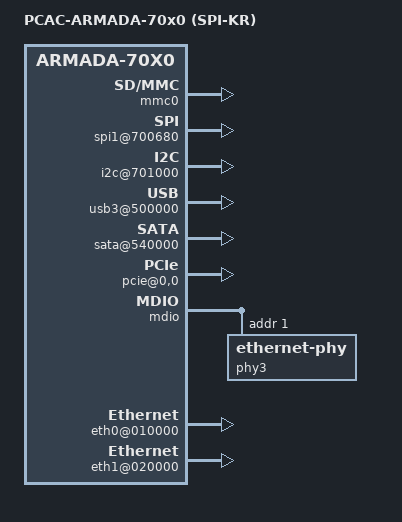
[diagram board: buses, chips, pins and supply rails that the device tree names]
/*
* ***************************************************************************
* Copyright (C) 2016 Marvell International Ltd.
* ***************************************************************************
*
* Redistribution and use in source and binary forms, with or without
* modification, are permitted provided that the following conditions are met:
*
* Redistributions of source code must retain the above copyright notice, this
* list of conditions and the following disclaimer.
*
* Redistributions in binary form must reproduce the above copyright notice,
* this list of conditions and the following disclaimer in the documentation
* and/or other materials provided with the distribution.
*
* Neither the name of Marvell nor the names of its contributors may be used
* to endorse or promote products derived from this software without specific
* prior written permission.
*
* THIS SOFTWARE IS PROVIDED BY THE COPYRIGHT HOLDERS AND CONTRIBUTORS "AS IS"
* AND ANY EXPRESS OR IMPLIED WARRANTIES, INCLUDING, BUT NOT LIMITED TO, THE
* IMPLIED WARRANTIES OF MERCHANTABILITY AND FITNESS FOR A PARTICULAR PURPOSE
* ARE DISCLAIMED. IN NO EVENT SHALL THE COPYRIGHT HOLDER OR CONTRIBUTORS BE
* LIABLE FOR ANY DIRECT, INDIRECT, INCIDENTAL, SPECIAL, EXEMPLARY,
* OR CONSEQUENTIAL DAMAGES (INCLUDING, BUT NOT LIMITED TO, PROCUREMENT OF
* SUBSTITUTE GOODS OR SERVICES; LOSS OF USE, DATA, OR PROFITS; OR BUSINESS
* INTERRUPTION) HOWEVER CAUSED AND ON ANY THEORY OF LIABILITY, WHETHER IN
* CONTRACT, STRICT LIABILITY, OR TORT (INCLUDING NEGLIGENCE OR OTHERWISE)
* ARISING IN ANY WAY OUT OF THE USE OF THIS SOFTWARE, EVEN IF ADVISED OF THE
* POSSIBILITY OF SUCH DAMAGE.
*
***************************************************************************
*/

/dts-v1/;

#include "armada-70x0.dtsi" /* include SoC device tree */
#include "armada-70x0-dev-info.dtsi" /* include Marvell specific info (S@R, MPP cmd) */
#include <dt-bindings/multi-fdt/a8k/multi-fdt.h>

/ {
	model = "PCAC-ARMADA-70x0 (SPI-KR)";
	compatible = "marvell,armada-70x0-pcac", "marvell,armada-70x0";
	fdt_config_id = <A70X0_PCAC_KR>;
	board_id = <A8K_7040_PCAC>;

	ap-806 {
		internal-regs {
			spi0: spi@510600 {
				status = "disabled";
			};
			i2c0: i2c@511000 {
				status = "disabled";
			};
			pinctl: pinctl@6F4000 {
					/* MPP Bus:
						SDIO  [0-10]
						UART0 [11,19]
					*/
					  /* 0 1 2 3 4 5 6 7 8 9 */
				pin-func = < 1 1 1 1 1 1 1 1 1 1
					     1 3 0 0 0 0 0 0 0 3>;
			};
			mmc0: mmc@6E0000 {
				status = "okay";
			};
		};
	};
	cp110-master {
		internal-regs {
			spi0@700600 {
				status = "disabled";
			};
			spi1@700680 {
				status = "okay";
			};
			i2c@701000 {
				status = "okay";
			};
			i2c@211000 { /* MSS_i2c0 */
				status = "disabled";
			};
			i2c@211100 { /* MSS_i2c1 */
				status = "disabled";
			};
			usb3@500000 {
				status = "okay";
			};
			sata@540000 {
				status = "okay";
			};
			mmc@780000 {
				status = "disabled";
			};
			pcie-controller {
				pcie@0,0 {
					endpoint;
					status = "okay";
				};
			};
			nand@720000 {
				status = "disabled";
			};

			pinctl@440000 {
					/* MPP Bus:
					   RGMII0[0-12]
					   SPI	 [13-16]
					   SATA1 [28]
					   UART0 [29-30]
					   PCI_RST [31]
					   SMI	 [32,34]
					   XSMI  [35-36]
					   I2C	 [37-38]
					   UART1 [40-41]
					   UART2 [50-51]
					*/
					/*   0	 1   2	 3   4	 5   6	 7   8	 9 */
				pin-func = < 3	 3   3	 3   3	 3   3	 3   3	 3
					     3	 3   0	 3   3	 3   3	 0   0	 0
					     0	 0   0	 0   0	 0   0	 0   9	 0xA
					     0xA 6   7	 0   7	 0   0	 2   2	 0
					     0	 0   0	 0   0	 0   0	 7   0	 7
					     6	 6   0	 0   0	 0   0	 0   0	 0
					     0	 0   0>;
			};

			comphy {
				/* Serdes Configuration:
					Lane 0-3: PEX0x4
					Lane 4:   10G-KR
					Lane 5:   SATA0
				*/
				phy0 {
					phy-type = <PHY_TYPE_PEX0>;
					endpoint;
				};
				phy1 {
					phy-type = <PHY_TYPE_PEX0>;
					endpoint;
				};
				phy2 {
					phy-type = <PHY_TYPE_PEX0>;
					endpoint;
				};
				phy3 {
					phy-type = <PHY_TYPE_PEX0>;
					endpoint;
				};
				phy4 {
					phy-type = <PHY_TYPE_KR>;
				};
				phy5 {
					phy-type = <PHY_TYPE_SATA1>;
				};
			};
			mdio {
				#address-cells = <1>;
				#size-cells = <0>;
				phy3: ethernet-phy@3 {
					reg = <1>;
				};
			};
			gop {
				mac0 {
					phy-mode = "kr"; /* lane-4 */
				};
				mac2 {
					phy-mode = "rgmii"; /* rgmii-0 */
					phy = <&phy3>;
				};
			};
			ppv22@000000 {
				eth0@010000 {
					status = "okay";
				};
				eth1@020000 {
					status = "okay";
				};
			};
		};
	};
};
